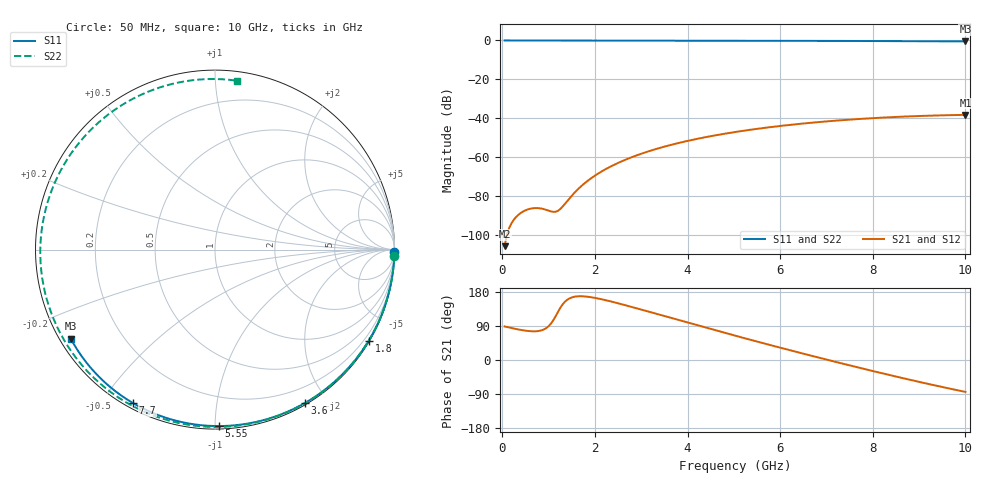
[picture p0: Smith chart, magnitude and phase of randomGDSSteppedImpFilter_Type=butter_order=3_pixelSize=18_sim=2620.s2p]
! freq	dB(S11)	phase(S11)	dB(S12)	phase(S12)
!  dB(S21)	phase(S21)	dB(S22)	phase(S22)
!S-par simulation data
#  GHz  S  DB  R 50
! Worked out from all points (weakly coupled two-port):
!   200 points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, 50 MHz to 10 GHz, reference 50 ohm
!   highest |S21| = -38.16 dB at 10 GHz (marker M1); lowest = -105.5 dB at 50 MHz (marker M2)
!   lowest |S11| = -0.5 dB at 10 GHz (marker M3), VSWR 34.94, Z = 1.55 - j14.2 ohm
!   |S11| at or under -10 dB: nowhere
!   |S22| runs from -0.5 to 0.0 dB; largest |S21 - S12| = 0
!   S11 on the Smith chart (normalised r, x): 50 MHz: open; 1.8 GHz: 0.03, -3.66; 3.6 GHz: 0.02, -1.75; 5.55 GHz: 0.02, -1.02; 7.7 GHz: 0.02, -0.60; 10 GHz: 0.03, -0.28
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0.05  -0.00 -0.9  -105.54 88.6  -105.54 88.6  -0.00 -2.1
0.35  -0.01 -6.0  -89.40 80.5  -89.40 80.5  -0.02 -14.4
0.7  -0.02 -12.0  -86.00 75.7  -86.00 75.7  -0.04 -28.5
1.1  -0.02 -18.8  -87.94 104.6  -87.94 104.6  -0.05 -44.2
1.45  -0.03 -24.7  -81.02 162.5  -81.02 162.5  -0.07 -57.4
1.5  -0.03 -25.6  -79.64 165.1  -79.64 165.1  -0.07 -59.3
1.75  -0.04 -29.7  -73.81 168.0  -73.81 168.0  -0.08 -68.3
1.8  -0.04 -30.6  -72.83 167.6  -72.83 167.6  -0.08 -70.1
2.1  -0.05 -35.5  -67.85 161.5  -67.85 161.5  -0.09 -80.4
2.45  -0.05 -41.3  -63.40 151.3  -63.40 151.3  -0.11 -91.9
2.9  -0.06 -48.5  -58.97 136.5  -58.97 136.5  -0.12 -105.9
3.4  -0.07 -56.5  -55.14 119.4  -55.14 119.4  -0.13 -120.4
3.6  -0.08 -59.6  -53.84 112.5  -53.84 112.5  -0.14 -125.9
4.3  -0.10 -70.3  -50.03 88.6  -50.03 88.6  -0.17 -144.2
5.05  -0.12 -81.5  -46.89 63.5  -46.89 63.5  -0.20 -162.5
5.55  -0.14 -88.7  -45.19 47.1  -45.19 47.1  -0.22 -174.2
6.1  -0.17 -96.4  -43.60 29.4  -43.60 29.4  -0.25 173.3
6.7  -0.20 -104.7  -42.15 10.4  -42.15 10.4  -0.28 159.8
7.7  -0.27 -118.2  -40.29 -20.2  -40.29 -20.2  -0.34 137.2
8.35  -0.32 -126.8  -39.41 -39.3  -39.41 -39.3  -0.38 122.2
9.2  -0.41 -137.9  -38.61 -63.2  -38.61 -63.2  -0.42 102.1
10  -0.50 -148.3  -38.16 -84.2  -38.16 -84.2  -0.45 82.5
